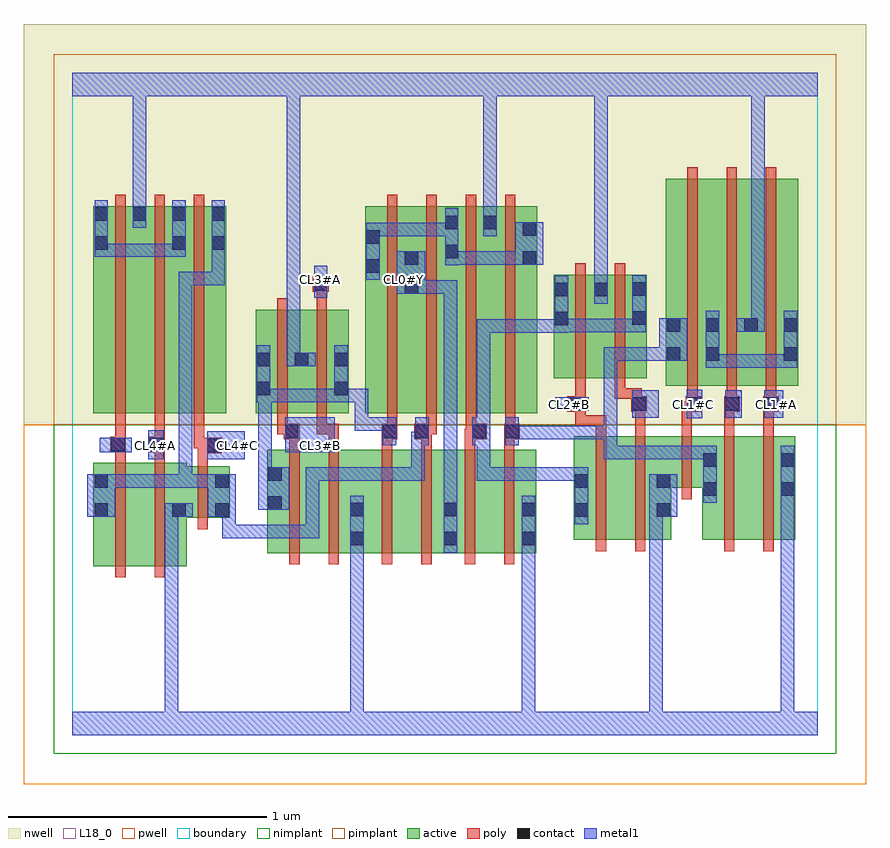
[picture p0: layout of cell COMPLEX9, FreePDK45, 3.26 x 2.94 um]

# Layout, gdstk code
import gdstk
lib = gdstk.Library(unit=1e-6, precision=1e-09)
def R(c, l, rs):  # rectangles x0, y0, x1, y1
    for r in rs: c.add(gdstk.rectangle(r[:2], r[2:], *l))
def A(c, l, x, y, w, h, nx, ny, dx, dy):  # array of equal rectangles
    R(c, l, [(x+i*dx, y+j*dy, x+i*dx+w, y+j*dy+h) for i in range(nx) for j in range(ny)])
active = (1, 0)
pwell = (2, 0)
nwell = (3, 0)
nimplant = (4, 0)
pimplant = (5, 0)
poly = (9, 0)
contact = (10, 0)
metal1 = (11, 0)
L18_0 = (18, 0)
boundary = (235, 0)

complex9 = lib.new_cell('COMPLEX9')
R(complex9, active, [(0.082,0.654,0.262,1.054), (0.262,0.654,0.442,1.054), (0.382,0.654,0.442,0.9), (0.754,0.704,0.934,1.104), (0.934,0.704,1.13,1.104), (1.07,0.704,1.292,1.104), (1.292,0.704,1.492,1.104), (1.432,0.704,1.492,1.104), (1.432,0.704,1.612,1.104), (1.612,0.704,1.792,1.104), (1.07,0.73,1.13,0.902), (1.732,0.73,1.792,1.104), (0.082,0.756,0.142,1.054), (0.754,0.756,0.814,1.104), (1.938,0.756,1.998,1.156), (1.938,0.756,2.118,1.156), (2.118,0.756,2.314,1.156), (2.254,0.756,2.314,1.012), (2.434,0.756,2.494,1.156), (2.434,0.756,2.614,1.156), (2.614,0.756,2.794,1.156), (2.734,0.756,2.794,1.156), (0.382,0.84,0.608,1.04), (0.548,0.84,0.608,1.04), (2.254,0.956,2.494,1.156), (0.082,1.244,0.142,2.044), (0.082,1.244,0.29,2.044), (0.23,1.244,0.442,2.044), (0.382,1.244,0.442,2.044), (0.382,1.244,0.594,2.044), (0.534,1.244,0.594,2.044), (0.708,1.244,0.768,1.644), (0.708,1.244,0.916,1.644), (0.856,1.244,0.916,1.644), (0.856,1.244,1.068,1.644), (1.008,1.244,1.068,1.644), (1.132,1.244,1.192,2.044), (1.132,1.244,1.34,2.044), (1.28,1.244,1.34,2.044), (1.28,1.244,1.496,2.044), (1.436,1.244,1.496,2.044), (1.436,1.244,1.644,2.044), (1.584,1.244,1.796,2.044), (1.736,1.244,1.796,2.044), (2.292,1.35,2.352,2.15), (2.292,1.35,2.504,2.15), (2.444,1.35,2.504,2.15), (2.444,1.35,2.652,2.15), (2.592,1.35,2.804,2.15), (2.592,1.35,2.652,2.044), (2.744,1.35,2.804,2.15), (1.86,1.38,1.92,1.78), (1.86,1.38,2.072,1.78), (2.012,1.38,2.22,1.78), (2.16,1.38,2.22,1.78), (0.23,1.686,0.29,2.044), (1.584,1.686,1.644,2.044), (2.012,1.692,2.072,1.752)])
R(complex9, pwell, [(-0.188,-0.188,3.068,1.2)])
R(complex9, nwell, [(-0.188,1.2,3.068,2.748)])
R(complex9, nimplant, [(-0.072,-0.072,2.952,1.2)])
R(complex9, pimplant, [(-0.072,1.2,2.952,2.632)])
A(complex9, poly, 1.216, 1.164, 0.04, 0.076, 4, 1, 0.152, 0)
A(complex9, poly, 0.166, 1.2, 0.04, 0.888, 3, 1, 0.152, 0)
A(complex9, poly, 1.216, 1.2, 0.04, 0.888, 4, 1, 0.152, 0)
A(complex9, poly, 2.376, 1.27, 0.04, 0.076, 3, 1, 0.152, 0)
A(complex9, poly, 2.376, 1.306, 0.04, 0.888, 3, 1, 0.152, 0)
R(complex9, poly, [(0.166,0.61,0.206,1.098), (0.318,0.61,0.358,1.098), (0.838,0.66,0.878,1.148), (0.99,0.66,1.03,1.148), (1.196,0.66,1.236,1.148), (1.348,0.66,1.388,1.148), (1.516,0.66,1.556,1.148), (1.668,0.66,1.708,1.148), (2.022,0.712,2.062,1.2), (2.174,0.712,2.214,1.2), (2.518,0.712,2.558,1.2), (2.67,0.712,2.71,1.2), (0.484,0.796,0.524,1.084), (2.354,0.912,2.394,1.2), (0.484,1.044,0.524,1.13), (0.166,1.058,0.206,1.134), (0.318,1.058,0.358,1.134), (0.484,1.09,0.578,1.15), (0.146,1.094,0.206,1.154), (0.166,1.094,0.206,1.134), (0.166,1.094,0.206,1.134), (0.298,1.094,0.358,1.154), (0.318,1.094,0.358,1.134), (0.318,1.094,0.358,1.134), (0.838,1.108,0.878,1.184), (0.99,1.108,1.03,1.204), (1.196,1.108,1.236,1.184), (1.348,1.108,1.388,1.184), (1.516,1.108,1.556,1.184), (1.668,1.108,1.708,1.184), (0.47,1.11,0.51,1.24), (0.47,1.11,0.524,1.15), (0.484,1.11,0.524,1.15), (0.166,1.114,0.206,1.24), (0.318,1.114,0.358,1.24), (0.818,1.144,0.878,1.204), (1.196,1.144,1.236,1.184), (1.196,1.144,1.236,1.184), (1.196,1.144,1.256,1.204), (1.322,1.144,1.388,1.204), (1.516,1.144,1.56,1.184), (1.52,1.144,1.56,1.184), (1.52,1.144,1.602,1.204), (1.668,1.144,1.728,1.204), (2.022,1.16,2.062,1.236), (2.174,1.16,2.214,1.29), (2.354,1.16,2.394,1.29), (2.518,1.16,2.558,1.29), (2.67,1.16,2.71,1.29), (0.792,1.164,0.832,1.24), (0.792,1.164,0.858,1.204), (0.818,1.164,0.858,1.204), (0.944,1.164,0.984,1.24), (0.944,1.164,0.996,1.204), (0.956,1.164,0.996,1.204), (0.956,1.164,1.03,1.204), (1.348,1.164,1.388,1.204), (1.348,1.164,1.408,1.204), (1.672,1.164,1.712,1.204), (1.672,1.164,1.712,1.204), (1.944,1.196,1.984,1.29), (1.944,1.196,2.062,1.236), (0.792,1.2,0.832,1.688), (0.944,1.2,0.984,1.688), (1.912,1.25,1.984,1.31), (2.16,1.25,2.22,1.31), (2.354,1.25,2.41,1.29), (2.37,1.25,2.41,1.29), (2.37,1.25,2.43,1.31), (2.518,1.25,2.558,1.29), (2.518,1.25,2.558,1.29), (2.518,1.25,2.578,1.31), (2.67,1.25,2.71,1.29), (2.67,1.25,2.71,1.29), (2.67,1.25,2.73,1.31), (1.944,1.27,1.984,1.376), (2.16,1.27,2.2,1.34), (2.096,1.3,2.136,1.376), (2.096,1.3,2.2,1.34), (1.944,1.336,1.984,1.824), (2.096,1.336,2.136,1.824), (0.944,1.648,0.984,1.754), (0.93,1.714,0.99,1.774)])
A(complex9, contact, 0.234, 1.988, 0.052, 0.052, 3, 1, 0.152, 0)
R(complex9, contact, [(1.074,0.734,1.126,0.786), (1.436,0.734,1.488,0.786), (1.736,0.734,1.788,0.786), (0.086,0.844,0.138,0.896), (0.386,0.844,0.438,0.896), (0.552,0.844,0.604,0.896), (1.942,0.844,1.994,0.896), (2.258,0.844,2.31,0.896), (1.074,0.846,1.126,0.898), (1.436,0.846,1.488,0.898), (1.736,0.846,1.788,0.898), (0.758,0.872,0.81,0.924), (2.438,0.926,2.49,0.978), (2.738,0.926,2.79,0.978), (0.086,0.956,0.138,1.008), (0.552,0.956,0.604,1.008), (1.942,0.956,1.994,1.008), (2.258,0.956,2.31,1.008), (0.758,0.984,0.81,1.036), (2.438,1.038,2.49,1.09), (2.738,1.038,2.79,1.09), (0.522,1.094,0.574,1.146), (0.15,1.098,0.202,1.15), (0.302,1.098,0.354,1.15), (0.822,1.148,0.874,1.2), (1.2,1.148,1.252,1.2), (1.326,1.148,1.378,1.2), (1.546,1.148,1.598,1.2), (1.672,1.148,1.724,1.2), (1.916,1.254,1.968,1.306), (2.164,1.254,2.216,1.306), (2.374,1.254,2.426,1.306), (2.522,1.254,2.574,1.306), (2.674,1.254,2.726,1.306), (0.712,1.314,0.764,1.366), (1.012,1.314,1.064,1.366), (0.712,1.426,0.764,1.478), (0.86,1.426,0.912,1.478), (1.012,1.426,1.064,1.478), (2.296,1.448,2.348,1.5), (2.448,1.448,2.5,1.5), (2.748,1.448,2.8,1.5), (2.296,1.56,2.348,1.612), (2.448,1.56,2.5,1.612), (2.596,1.56,2.648,1.612), (2.748,1.56,2.8,1.612), (1.864,1.584,1.916,1.636), (2.164,1.586,2.216,1.638), (1.864,1.696,1.916,1.748), (2.016,1.696,2.068,1.748), (2.164,1.698,2.216,1.75), (1.284,1.706,1.336,1.758), (0.934,1.718,0.986,1.77), (1.136,1.788,1.188,1.84), (1.284,1.818,1.336,1.87), (1.74,1.818,1.792,1.87), (1.44,1.844,1.492,1.896), (0.086,1.876,0.138,1.928), (0.386,1.876,0.438,1.928), (0.538,1.876,0.59,1.928), (1.136,1.9,1.188,1.952), (1.74,1.93,1.792,1.982), (1.44,1.956,1.492,2.008), (1.588,1.956,1.64,2.008), (0.086,1.988,0.138,2.04)])
A(complex9, metal1, 2.054, 1.066, 0.052, 0.052, 3, 1, 0.11, 0)
R(complex9, metal1, [(0,0,2.88,0.092), (0.358,0.04,0.41,0.092), (0.358,0.04,0.41,0.092), (0.358,0.04,0.41,0.092), (0.358,0.04,0.41,0.092), (0.358,0.04,0.41,0.896), (1.074,0.04,1.126,0.092), (1.074,0.04,1.126,0.092), (1.074,0.04,1.126,0.092), (1.074,0.04,1.126,0.092), (1.074,0.04,1.126,0.092), (1.074,0.04,1.126,0.092), (1.074,0.04,1.126,0.092), (1.074,0.04,1.126,0.092), (1.074,0.04,1.126,0.092), (1.074,0.04,1.126,0.092), (1.074,0.04,1.126,0.092), (1.074,0.04,1.126,0.092), (1.074,0.04,1.126,0.758), (1.736,0.04,1.788,0.092), (1.736,0.04,1.788,0.092), (1.736,0.04,1.788,0.092), (1.736,0.04,1.788,0.092), (1.736,0.04,1.788,0.092), (1.736,0.04,1.788,0.092), (1.736,0.04,1.788,0.092), (1.736,0.04,1.788,0.092), (1.736,0.04,1.788,0.092), (1.736,0.04,1.788,0.092), (1.736,0.04,1.788,0.092), (1.736,0.04,1.788,0.092), (1.736,0.04,1.788,0.758), (2.23,0.04,2.282,0.092), (2.23,0.04,2.282,0.092), (2.23,0.04,2.282,0.092), (2.23,0.04,2.282,0.092), (2.23,0.04,2.282,0.092), (2.23,0.04,2.282,0.092), (2.23,0.04,2.282,0.092), (2.23,0.04,2.282,0.092), (2.23,0.04,2.282,0.896), (2.738,0.04,2.79,0.092), (2.738,0.04,2.79,0.092), (2.738,0.04,2.79,0.092), (2.738,0.04,2.79,0.092), (2.738,0.04,2.79,0.092), (2.738,0.04,2.79,0.092), (2.738,0.04,2.79,0.092), (2.738,0.04,2.79,0.092), (2.738,0.04,2.79,0.95), (1.074,0.706,1.126,0.926), (1.436,0.706,1.488,0.926), (1.736,0.706,1.788,0.926), (0.58,0.762,0.632,0.814), (0.58,0.762,0.632,0.814), (0.58,0.762,0.632,0.814), (0.58,0.762,0.844,0.814), (0.58,0.762,0.632,0.896), (0.792,0.762,0.844,0.814), (0.792,0.762,0.954,0.814), (0.902,0.762,0.954,0.814), (0.902,0.762,0.954,1.036), (1.942,0.816,1.994,1.036), (0.058,0.844,0.166,1.008), (0.358,0.844,0.41,0.896), (0.358,0.844,0.41,0.896), (0.358,0.844,0.41,0.896), (0.358,0.844,0.41,0.896), (0.358,0.844,0.41,0.896), (0.358,0.844,0.41,0.896), (0.358,0.844,0.41,0.896), (0.358,0.844,0.41,0.896), (0.358,0.844,0.466,0.896), (0.524,0.844,0.632,1.008), (2.23,0.844,2.282,0.896), (2.23,0.844,2.282,0.896), (2.23,0.844,2.282,0.896), (2.23,0.844,2.282,0.896), (2.23,0.844,2.338,1.008), (0.718,0.872,0.838,1.036), (1.436,0.874,1.488,1.758), (2.438,0.898,2.49,1.118), (2.738,0.898,2.79,0.95), (2.738,0.898,2.79,0.95), (2.738,0.898,2.79,0.95), (2.738,0.898,2.79,0.95), (2.738,0.898,2.79,1.118), (0.114,0.956,0.166,1.008), (0.114,0.956,0.166,1.008), (0.114,0.956,0.3,1.008), (0.248,0.956,0.3,1.008), (0.248,0.956,0.3,1.008), (0.248,0.956,0.3,1.008), (0.248,0.956,0.464,1.008), (0.412,0.956,0.464,1.008), (0.412,0.956,0.464,1.008), (0.412,0.956,0.464,1.008), (0.412,0.956,0.576,1.008), (0.412,0.956,0.464,1.79), (0.718,0.984,0.77,1.338), (0.902,0.984,0.954,1.036), (0.902,0.984,0.954,1.036), (0.902,0.984,0.954,1.036), (0.902,0.984,1.064,1.036), (1.012,0.984,1.064,1.036), (1.012,0.984,1.196,1.036), (1.144,0.984,1.196,1.036), (1.144,0.984,1.196,1.036), (1.144,0.984,1.196,1.036), (1.144,0.984,1.362,1.036), (1.31,0.984,1.362,1.036), (1.31,0.984,1.362,1.172), (1.562,0.984,1.614,1.036), (1.562,0.984,1.614,1.036), (1.562,0.984,1.614,1.036), (1.562,0.984,1.806,1.036), (1.562,0.984,1.614,1.172), (1.754,0.984,1.806,1.036), (1.754,0.984,1.806,1.036), (1.754,0.984,1.806,1.036), (1.754,0.984,1.994,1.036), (0.294,1.066,0.354,1.178), (0.522,1.066,0.666,1.174), (2.054,1.066,2.106,1.118), (2.054,1.066,2.106,1.118), (2.054,1.066,2.216,1.118), (2.054,1.066,2.106,1.196), (2.164,1.066,2.326,1.118), (2.274,1.066,2.326,1.118), (2.274,1.066,2.326,1.118), (2.274,1.066,2.49,1.118), (0.106,1.094,0.23,1.15), (0.822,1.094,1.014,1.228), (1.2,1.12,1.252,1.228), (1.31,1.12,1.362,1.172), (1.31,1.12,1.378,1.172), (1.326,1.12,1.378,1.228), (1.546,1.12,1.598,1.228), (1.546,1.12,1.614,1.172), (1.562,1.12,1.614,1.172), (1.562,1.12,1.614,1.608), (1.672,1.12,1.724,1.228), (1.672,1.144,1.724,1.196), (1.672,1.144,1.724,1.196), (1.672,1.144,1.958,1.196), (1.906,1.144,1.958,1.196), (1.906,1.144,1.958,1.196), (1.906,1.144,1.958,1.196), (1.906,1.144,2.106,1.196), (2.054,1.144,2.106,1.196), (2.054,1.144,2.106,1.5), (1.092,1.176,1.144,1.228), (1.092,1.176,1.252,1.228), (1.092,1.176,1.144,1.338), (2.374,1.224,2.434,1.336), (2.164,1.226,2.266,1.334), (2.522,1.226,2.586,1.334), (2.674,1.226,2.746,1.334), (1.866,1.254,1.996,1.306), (0.712,1.286,0.764,1.338), (0.712,1.286,0.764,1.506), (0.712,1.286,0.776,1.338), (0.712,1.286,0.77,1.338), (0.718,1.286,0.77,1.338), (0.718,1.286,0.77,1.338), (0.724,1.286,0.776,1.338), (0.724,1.286,0.954,1.338), (0.902,1.286,0.954,1.338), (0.902,1.286,0.954,1.338), (0.902,1.286,0.954,1.338), (0.902,1.286,1.064,1.338), (1.012,1.286,1.064,1.506), (1.012,1.286,1.144,1.338), (1.092,1.286,1.144,1.338), (2.448,1.42,2.5,1.64), (2.448,1.42,2.61,1.472), (2.558,1.42,2.61,1.472), (2.558,1.42,2.61,1.472), (2.558,1.42,2.61,1.472), (2.558,1.42,2.8,1.472), (2.748,1.42,2.8,1.472), (2.748,1.42,2.8,1.472), (2.748,1.42,2.8,1.64), (0.828,1.426,0.88,2.52), (0.828,1.426,0.94,1.478), (2.054,1.448,2.106,1.5), (2.054,1.448,2.106,1.5), (2.054,1.448,2.106,1.5), (2.054,1.448,2.216,1.5), (2.164,1.448,2.216,1.5), (2.164,1.448,2.32,1.5), (2.268,1.448,2.32,1.5), (2.268,1.448,2.32,1.5), (2.268,1.448,2.376,1.612), (1.562,1.556,1.614,1.608), (1.562,1.556,1.75,1.608), (1.698,1.556,1.75,1.608), (1.698,1.556,1.75,1.608), (1.698,1.556,1.75,1.608), (1.698,1.556,1.916,1.608), (1.864,1.556,1.916,1.776), (1.864,1.558,1.916,1.61), (1.864,1.558,1.916,1.61), (1.864,1.558,2.106,1.61), (2.054,1.558,2.106,1.61), (2.054,1.558,2.106,1.61), (2.054,1.558,2.106,1.61), (2.054,1.558,2.216,1.61), (2.164,1.558,2.216,1.778), (2.568,1.56,2.676,1.612), (2.624,1.56,2.676,1.612), (2.624,1.56,2.676,1.612), (2.624,1.56,2.676,1.612), (2.624,1.56,2.676,1.612), (2.624,1.56,2.676,1.612), (2.624,1.56,2.676,1.612), (2.624,1.56,2.676,1.612), (2.624,1.56,2.676,1.612), (2.624,1.56,2.676,2.52), (2.016,1.668,2.068,1.776), (0.934,1.69,0.986,1.814), (1.254,1.706,1.364,1.87), (1.312,1.706,1.364,1.758), (1.312,1.706,1.364,1.758), (1.312,1.706,1.488,1.758), (1.436,1.706,1.488,1.758), (1.436,1.706,1.488,1.758), (1.436,1.706,1.488,1.758), (1.436,1.706,1.488,1.758), (1.436,1.706,1.488,1.758), (1.436,1.706,1.488,1.758), (1.436,1.706,1.488,1.758), (2.016,1.724,2.068,1.776), (2.016,1.724,2.068,1.776), (2.016,1.724,2.068,1.776), (2.016,1.724,2.068,1.776), (2.016,1.724,2.068,1.776), (2.016,1.724,2.068,1.776), (2.016,1.724,2.068,1.776), (2.016,1.724,2.068,1.776), (2.016,1.724,2.068,1.776), (2.016,1.724,2.068,1.776), (2.016,1.724,2.068,1.776), (2.016,1.724,2.068,1.776), (2.016,1.724,2.068,1.776), (2.016,1.724,2.068,1.776), (2.016,1.724,2.068,1.776), (2.016,1.724,2.068,1.776), (2.016,1.724,2.068,2.52), (0.412,1.738,0.464,1.79), (0.412,1.738,0.464,1.79), (0.412,1.738,0.464,1.79), (0.412,1.738,0.464,1.79), (0.412,1.738,0.464,1.79), (0.412,1.738,0.59,1.79), (0.538,1.738,0.59,1.79), (0.538,1.738,0.59,1.9), (1.136,1.76,1.188,1.98), (1.44,1.816,1.492,2.036), (1.44,1.818,1.492,1.87), (1.44,1.818,1.492,1.87), (1.44,1.818,1.614,1.87), (1.562,1.818,1.614,1.87), (1.562,1.818,1.764,1.87), (1.712,1.818,1.764,1.87), (1.712,1.818,1.764,1.87), (1.712,1.818,1.82,1.982), (0.086,1.848,0.138,1.9), (0.086,1.848,0.138,1.9), (0.086,1.848,0.138,2.068), (0.086,1.848,0.276,1.9), (0.224,1.848,0.276,1.9), (0.224,1.848,0.276,1.9), (0.224,1.848,0.276,1.9), (0.224,1.848,0.438,1.9), (0.386,1.848,0.438,2.068), (0.538,1.848,0.59,2.068), (1.136,1.928,1.254,1.98), (1.202,1.928,1.254,1.98), (1.202,1.928,1.364,1.98), (1.312,1.928,1.364,1.98), (1.312,1.928,1.364,1.98), (1.312,1.928,1.364,1.98), (1.312,1.928,1.492,1.98), (1.588,1.928,1.64,2.036), (0.234,1.96,0.286,2.068), (1.588,1.984,1.64,2.036), (1.588,1.984,1.64,2.036), (1.588,1.984,1.64,2.036), (1.588,1.984,1.64,2.036), (1.588,1.984,1.64,2.036), (1.588,1.984,1.64,2.036), (1.588,1.984,1.64,2.036), (1.588,1.984,1.64,2.036), (1.588,1.984,1.64,2.52), (0.234,2.016,0.286,2.068), (0.234,2.016,0.286,2.068), (0.234,2.016,0.286,2.068), (0.234,2.016,0.286,2.068), (0.234,2.016,0.286,2.068), (0.234,2.016,0.286,2.068), (0.234,2.016,0.286,2.068), (0.234,2.016,0.286,2.068), (0.234,2.016,0.286,2.52), (0,2.468,2.88,2.56), (0.828,2.468,0.88,2.52), (0.828,2.468,0.88,2.52), (0.828,2.468,0.88,2.52), (0.828,2.468,0.88,2.52), (0.828,2.468,0.88,2.52), (0.828,2.468,0.88,2.52), (0.828,2.468,0.88,2.52), (0.828,2.468,0.88,2.52), (0.828,2.468,0.88,2.52), (0.828,2.468,0.88,2.52), (0.828,2.468,0.88,2.52), (0.828,2.468,0.88,2.52), (0.828,2.468,0.88,2.52), (0.828,2.468,0.88,2.52), (0.828,2.468,0.88,2.52), (0.828,2.468,0.88,2.52)])
A(complex9, L18_0, 0.294, 1.094, 0.052, 0.052, 3, 1, 0.32, 0)
A(complex9, L18_0, 2.214, 1.254, 0.052, 0.052, 4, 1, 0.16, 0)
R(complex9, L18_0, [(0,0,2.88,0.092), (0.358,0.04,0.41,0.092), (0.358,0.04,0.41,0.092), (0.358,0.04,0.41,0.092), (0.358,0.04,0.41,0.092), (0.358,0.04,0.41,0.896), (1.074,0.04,1.126,0.092), (1.074,0.04,1.126,0.092), (1.074,0.04,1.126,0.092), (1.074,0.04,1.126,0.092), (1.074,0.04,1.126,0.092), (1.074,0.04,1.126,0.092), (1.074,0.04,1.126,0.092), (1.074,0.04,1.126,0.092), (1.074,0.04,1.126,0.092), (1.074,0.04,1.126,0.092), (1.074,0.04,1.126,0.092), (1.074,0.04,1.126,0.092), (1.074,0.04,1.126,0.758), (1.736,0.04,1.788,0.092), (1.736,0.04,1.788,0.092), (1.736,0.04,1.788,0.092), (1.736,0.04,1.788,0.092), (1.736,0.04,1.788,0.092), (1.736,0.04,1.788,0.092), (1.736,0.04,1.788,0.092), (1.736,0.04,1.788,0.092), (1.736,0.04,1.788,0.092), (1.736,0.04,1.788,0.092), (1.736,0.04,1.788,0.092), (1.736,0.04,1.788,0.092), (1.736,0.04,1.788,0.758), (2.23,0.04,2.282,0.092), (2.23,0.04,2.282,0.092), (2.23,0.04,2.282,0.092), (2.23,0.04,2.282,0.092), (2.23,0.04,2.282,0.092), (2.23,0.04,2.282,0.092), (2.23,0.04,2.282,0.092), (2.23,0.04,2.282,0.092), (2.23,0.04,2.282,0.896), (2.738,0.04,2.79,0.092), (2.738,0.04,2.79,0.092), (2.738,0.04,2.79,0.092), (2.738,0.04,2.79,0.092), (2.738,0.04,2.79,0.092), (2.738,0.04,2.79,0.092), (2.738,0.04,2.79,0.092), (2.738,0.04,2.79,0.092), (2.738,0.04,2.79,0.95), (1.074,0.706,1.126,0.926), (1.436,0.706,1.488,0.926), (1.736,0.706,1.788,0.926), (0.358,0.844,0.41,0.896), (0.358,0.844,0.41,0.896), (0.358,0.844,0.41,0.896), (0.358,0.844,0.41,0.896), (0.358,0.844,0.41,0.896), (0.358,0.844,0.41,0.896), (0.358,0.844,0.41,0.896), (0.358,0.844,0.41,0.896), (0.358,0.844,0.466,0.896), (2.23,0.844,2.282,0.896), (2.23,0.844,2.282,0.896), (2.23,0.844,2.282,0.896), (2.23,0.844,2.282,0.896), (2.23,0.844,2.338,1.008), (1.436,0.874,1.488,1.758), (2.738,0.898,2.79,0.95), (2.738,0.898,2.79,0.95), (2.738,0.898,2.79,0.95), (2.738,0.898,2.79,0.95), (2.738,0.898,2.79,1.118), (0.294,1.066,0.354,1.178), (0.522,1.066,0.666,1.174), (0.106,1.094,0.23,1.15), (0.134,1.094,0.186,1.146), (0.822,1.094,1.014,1.228), (2.374,1.224,2.434,1.336), (2.164,1.226,2.266,1.334), (2.522,1.226,2.586,1.334), (2.674,1.226,2.746,1.334), (1.866,1.254,1.996,1.306), (1.894,1.254,1.946,1.306), (0.828,1.426,0.94,1.478), (0.828,1.426,0.88,2.52), (2.568,1.56,2.676,1.612), (2.624,1.56,2.676,1.612), (2.624,1.56,2.676,1.612), (2.624,1.56,2.676,1.612), (2.624,1.56,2.676,1.612), (2.624,1.56,2.676,1.612), (2.624,1.56,2.676,1.612), (2.624,1.56,2.676,1.612), (2.624,1.56,2.676,1.612), (2.624,1.56,2.676,2.52), (2.016,1.668,2.068,1.776), (0.934,1.69,0.986,1.814), (1.254,1.706,1.364,1.87), (1.312,1.706,1.364,1.758), (1.312,1.706,1.364,1.758), (1.312,1.706,1.488,1.758), (1.436,1.706,1.488,1.758), (1.436,1.706,1.488,1.758), (1.436,1.706,1.488,1.758), (1.436,1.706,1.488,1.758), (1.436,1.706,1.488,1.758), (1.436,1.706,1.488,1.758), (1.436,1.706,1.488,1.758), (2.016,1.724,2.068,1.776), (2.016,1.724,2.068,1.776), (2.016,1.724,2.068,1.776), (2.016,1.724,2.068,1.776), (2.016,1.724,2.068,1.776), (2.016,1.724,2.068,1.776), (2.016,1.724,2.068,1.776), (2.016,1.724,2.068,1.776), (2.016,1.724,2.068,1.776), (2.016,1.724,2.068,1.776), (2.016,1.724,2.068,1.776), (2.016,1.724,2.068,1.776), (2.016,1.724,2.068,1.776), (2.016,1.724,2.068,1.776), (2.016,1.724,2.068,1.776), (2.016,1.724,2.068,1.776), (2.016,1.724,2.068,2.52), (0.934,1.734,0.986,1.786), (1.254,1.734,1.306,1.786), (1.588,1.928,1.64,2.036), (0.234,1.96,0.286,2.068), (1.588,1.984,1.64,2.036), (1.588,1.984,1.64,2.036), (1.588,1.984,1.64,2.036), (1.588,1.984,1.64,2.036), (1.588,1.984,1.64,2.036), (1.588,1.984,1.64,2.036), (1.588,1.984,1.64,2.036), (1.588,1.984,1.64,2.036), (1.588,1.984,1.64,2.52), (0.234,2.016,0.286,2.068), (0.234,2.016,0.286,2.068), (0.234,2.016,0.286,2.068), (0.234,2.016,0.286,2.068), (0.234,2.016,0.286,2.068), (0.234,2.016,0.286,2.068), (0.234,2.016,0.286,2.068), (0.234,2.016,0.286,2.068), (0.234,2.016,0.286,2.52), (0,2.468,2.88,2.56), (0.828,2.468,0.88,2.52), (0.828,2.468,0.88,2.52), (0.828,2.468,0.88,2.52), (0.828,2.468,0.88,2.52), (0.828,2.468,0.88,2.52), (0.828,2.468,0.88,2.52), (0.828,2.468,0.88,2.52), (0.828,2.468,0.88,2.52), (0.828,2.468,0.88,2.52), (0.828,2.468,0.88,2.52), (0.828,2.468,0.88,2.52), (0.828,2.468,0.88,2.52), (0.828,2.468,0.88,2.52), (0.828,2.468,0.88,2.52), (0.828,2.468,0.88,2.52), (0.828,2.468,0.88,2.52)])
R(complex9, boundary, [(0,0,2.88,2.56)])
complex9.add(gdstk.Label('CL0#Y', (1.28,1.76), layer=11, texttype=0))
complex9.add(gdstk.Label('CL1#A', (2.72,1.28), layer=11, texttype=0))
complex9.add(gdstk.Label('CL1#B', (2.56,1.28), layer=11, texttype=0))
complex9.add(gdstk.Label('CL1#C', (2.4,1.28), layer=11, texttype=0))
complex9.add(gdstk.Label('CL2#A', (2.24,1.28), layer=11, texttype=0))
complex9.add(gdstk.Label('CL2#B', (1.92,1.28), layer=11, texttype=0))
complex9.add(gdstk.Label('CL3#A', (0.96,1.76), layer=11, texttype=0))
complex9.add(gdstk.Label('CL3#B', (0.96,1.12), layer=11, texttype=0))
complex9.add(gdstk.Label('CL4#A', (0.32,1.12), layer=11, texttype=0))
complex9.add(gdstk.Label('CL4#B', (0.16,1.12), layer=11, texttype=0))
complex9.add(gdstk.Label('CL4#C', (0.64,1.12), layer=11, texttype=0))

lib.write_gds('COMPLEX9.gds')
